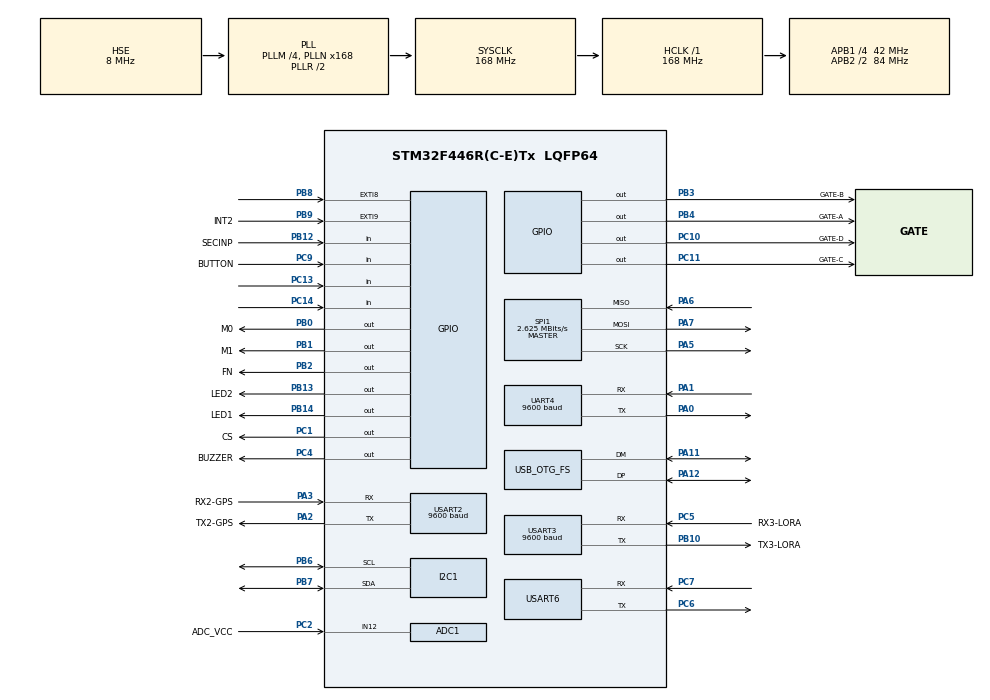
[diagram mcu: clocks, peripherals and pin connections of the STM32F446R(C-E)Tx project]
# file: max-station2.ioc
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ADC1.Channel-11\#ChannelRegularConversion=ADC_CHANNEL_12
ADC1.ContinuousConvMode=ENABLE
ADC1.NbrOfConversionFlag=1
ADC1.Rank-11\#ChannelRegularConversion=1
ADC1.SamplingTime-11\#ChannelRegularConversion=ADC_SAMPLETIME_3CYCLES
ADC1.master=1
Dma.Request0=USART3_RX
Dma.Request1=USART6_TX
Dma.USART3_RX.0.Direction=DMA_PERIPH_TO_MEMORY
Dma.USART3_RX.0.FIFOMode=DMA_FIFOMODE_DISABLE
Dma.USART3_RX.0.Instance=DMA1_Stream1
Dma.USART3_RX.0.MemDataAlignment=DMA_MDATAALIGN_BYTE
Dma.USART3_RX.0.MemInc=DMA_MINC_ENABLE
Dma.USART3_RX.0.Mode=DMA_NORMAL
Dma.USART3_RX.0.PeriphDataAlignment=DMA_PDATAALIGN_BYTE
Dma.USART3_RX.0.PeriphInc=DMA_PINC_DISABLE
Dma.USART3_RX.0.Priority=DMA_PRIORITY_LOW
Dma.USART6_TX.1.Direction=DMA_MEMORY_TO_PERIPH
Dma.USART6_TX.1.FIFOMode=DMA_FIFOMODE_DISABLE
Dma.USART6_TX.1.Instance=DMA2_Stream6
Dma.USART6_TX.1.MemDataAlignment=DMA_MDATAALIGN_BYTE
Dma.USART6_TX.1.MemInc=DMA_MINC_ENABLE
Dma.USART6_TX.1.Mode=DMA_NORMAL
Dma.USART6_TX.1.PeriphDataAlignment=DMA_PDATAALIGN_BYTE
Dma.USART6_TX.1.PeriphInc=DMA_PINC_DISABLE
Dma.USART6_TX.1.Priority=DMA_PRIORITY_LOW
I2C1.I2C_Mode=I2C_Standard
Mcu.Family=STM32F4
Mcu.Name=STM32F446R(C-E)Tx
Mcu.Package=LQFP64
NVIC.ADC_IRQn=true\:0\:0\:false\:false\:true\:true\:true\:true
NVIC.DMA1_Stream1_IRQn=true\:0\:0\:false\:false\:true\:false\:true\:true
NVIC.DMA2_Stream6_IRQn=true\:0\:0\:false\:false\:true\:false\:true\:true
NVIC.OTG_FS_IRQn=true\:0\:0\:false\:false\:true\:false\:true\:true
NVIC.PriorityGroup=NVIC_PRIORITYGROUP_4
NVIC.TIM1_TRG_COM_TIM11_IRQn=true\:0\:0\:false\:false\:true\:true\:true\:true
NVIC.USART2_IRQn=true\:1\:0\:true\:false\:true\:true\:true\:true
NVIC.USART3_IRQn=true\:0\:0\:false\:false\:true\:true\:true\:true
NVIC.USART6_IRQn=true\:0\:0\:false\:false\:true\:true\:true\:true
PA0-WKUP.Mode=Asynchronous
PA0-WKUP.Signal=UART4_TX
PA1.Mode=Asynchronous
PA1.Signal=UART4_RX
PA11.Mode=Device_Only
PA11.Signal=USB_OTG_FS_DM
PA12.Mode=Device_Only
PA12.Signal=USB_OTG_FS_DP
PA13.Mode=Serial_Wire
PA13.Signal=SYS_JTMS-SWDIO
PA14.Mode=Serial_Wire
PA14.Signal=SYS_JTCK-SWCLK
PA2.GPIO_Label=TX2-GPS
PA2.Mode=Asynchronous
PA2.Signal=USART2_TX
PA3.GPIO_Label=RX2-GPS
PA3.Mode=Asynchronous
PA3.Signal=USART2_RX
PA5.Mode=Full_Duplex_Master
PA5.Signal=SPI1_SCK
PA6.Mode=Full_Duplex_Master
PA6.Signal=SPI1_MISO
PA7.Mode=Full_Duplex_Master
PA7.Signal=SPI1_MOSI
PB0.GPIO_Label=M0
PB0.Signal=GPIO_Output
PB1.GPIO_Label=M1
PB1.Signal=GPIO_Output
PB10.GPIO_Label=TX3-LORA
PB10.Mode=Asynchronous
PB10.Signal=USART3_TX
PB12.GPIO_Label=SECINP
PB12.GPIO_PuPd=GPIO_PULLUP
PB12.Signal=GPIO_Input
PB13.GPIO_Label=LED2
PB13.Signal=GPIO_Output
PB14.GPIO_Label=LED1
PB14.Signal=GPIO_Output
PB2.GPIO_Label=FN
PB2.Signal=GPIO_Output
PB3.GPIO_Label=GATE-B
PB3.Signal=GPIO_Output
PB4.GPIO_Label=GATE-A
PB4.Signal=GPIO_Output
PB6.Mode=I2C
PB6.Signal=I2C1_SCL
PB7.Mode=I2C
PB7.Signal=I2C1_SDA
PB8.GPIO_ModeDefaultEXTI=GPIO_MODE_IT_RISING
PB8.Signal=GPXTI8
PB9.GPIO_Label=INT2
PB9.GPIO_PuPd=GPIO_NOPULL
PB9.Signal=GPXTI9
PC1.GPIO_Label=CS
PC1.Signal=GPIO_Output
PC10.GPIO_Label=GATE-D
PC10.Signal=GPIO_Output
PC11.GPIO_Label=GATE-C
PC11.Signal=GPIO_Output
PC13.Signal=GPIO_Input
PC14-OSC32_IN.Signal=GPIO_Input
PC2.GPIO_Label=ADC_VCC
PC2.Signal=ADCx_IN12
PC4.GPIO_Label=BUZZER
PC4.Signal=GPIO_Output
PC5.GPIO_Label=RX3-LORA
PC5.Mode=Asynchronous
PC5.Signal=USART3_RX
PC6.Mode=Asynchronous
PC6.Signal=USART6_TX
PC7.Mode=Asynchronous
PC7.Signal=USART6_RX
PC9.GPIO_Label=BUTTON
PC9.GPIO_PuPd=GPIO_PULLUP
PC9.Signal=GPIO_Input
PH0-OSC_IN.Mode=HSE-External-Oscillator
PH0-OSC_IN.Signal=RCC_OSC_IN
PH1-OSC_OUT.Mode=HSE-External-Oscillator
PH1-OSC_OUT.Signal=RCC_OSC_OUT
ProjectManager.HeapSize=0x200
ProjectManager.StackSize=0x400
ProjectManager.TargetToolchain=STM32CubeIDE
RCC.AHBFreq_Value=168000000
RCC.APB1CLKDivider=RCC_HCLK_DIV4
RCC.APB1Freq_Value=42000000
RCC.APB1TimFreq_Value=84000000
RCC.APB2CLKDivider=RCC_HCLK_DIV2
RCC.APB2Freq_Value=84000000
RCC.APB2TimFreq_Value=168000000
RCC.CortexFreq_Value=168000000
RCC.HCLKFreq_Value=168000000
RCC.HSE_VALUE=8000000
RCC.PLLM=4
RCC.PLLN=168
RCC.PLLQ=7
RCC.PLLSourceVirtual=RCC_PLLSOURCE_HSE
RCC.SYSCLKFreq_VALUE=168000000
RCC.SYSCLKSource=RCC_SYSCLKSOURCE_PLLRCLK
RCC.USBFreq_Value=48000000
RCC.VCOOutputFreq_Value=336000000
SH.ADCx_IN12.0=ADC1_IN12,IN12
SPI1.BaudRatePrescaler=SPI_BAUDRATEPRESCALER_32
SPI1.CalculateBaudRate=2.625 MBits/s
SPI1.Direction=SPI_DIRECTION_2LINES
SPI1.Mode=SPI_MODE_MASTER
SPI1.VirtualType=VM_MASTER
TIM11.Period=15000-1
TIM11.Prescaler=16800
UART4.BaudRate=9600
UART4.VirtualMode=Asynchronous
USART2.BaudRate=9600
USART2.VirtualMode=VM_ASYNC
USART3.BaudRate=9600
USART3.VirtualMode=VM_ASYNC
USART6.VirtualMode=VM_ASYNC
USB_DEVICE.CLASS_NAME_FS=CDC
USB_DEVICE.VirtualMode-CDC_FS=Cdc
USB_DEVICE.VirtualModeFS=Cdc_FS
USB_OTG_FS.VirtualMode=Device_Only
VP_FATFS_VS_Generic.Mode=User_defined
VP_TIM11_VS_ClockSourceINT.Mode=Enable_Timer
VP_USB_DEVICE_VS_USB_DEVICE_CDC_FS.Mode=CDC_FS
board=custom

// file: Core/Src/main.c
/* USER CODE BEGIN Header */
/**
  ******************************************************************************
  * @file           : main.c
  * @brief          : Main program body
  ******************************************************************************
  * @attention
  *
  * Copyright (c) 2024 STMicroelectronics.
  * All rights reserved.
  *
  * This software is licensed under terms that can be found in the LICENSE file
  * in the root directory of this software component.
  * If no LICENSE file comes with this software, it is provided AS-IS.
  *
  ******************************************************************************
  */
/* USER CODE END Header */
#include "main.h"
#include "fatfs.h"
#include "usb_device.h"

/* USER CODE BEGIN Includes */
#include "lwgps/lwgps.h"
#include "w25q.h"
#include <math.h>
#include "stdio.h"
#include "string.h"
/* USER CODE END Includes */

/* USER CODE BEGIN PD */
#define LORA_RX_BUFFER_SIZE 72
#define RX_BUFFER_SIZE 128
#define HYI_BUFFER_SIZE 78

#define TAKIM_ID 31

#define CMD_SET_REG 0xC0 // COMMAND FOR SETTING REGISTER
#define CMD_READ_REG 0xC1 // COMMAND FOR READING REGISTER
#define REG_ADD_H 0x0 // DEVICE ADDRESS HIGH BYTE
#define REG_ADD_L 0x1 // DEVICE ADDRESS LOW BYTE
#define REG0 0x2 // UART CONFIGURATION REGISTER
#define REG1 0x3 // RF CONFIGURATION REGISTER
#define REG2 0x4 // CHANNEL CONTROL
#define REG3 0x5 // TRANSMISSION PARAMETER CONTROL

/* USER CODE END PD */

ADC_HandleTypeDef hadc1;

I2C_HandleTypeDef hi2c1;

SPI_HandleTypeDef hspi1;

TIM_HandleTypeDef htim11;

UART_HandleTypeDef huart4;
UART_HandleTypeDef huart2;
UART_HandleTypeDef huart3;
UART_HandleTypeDef huart6;
DMA_HandleTypeDef hdma_usart3_rx;
DMA_HandleTypeDef hdma_usart6_tx;

/* USER CODE BEGIN PV */
uint8_t lora_rx_buffer[LORA_RX_BUFFER_SIZE];
uint8_t RS_rx_buffer[LORA_RX_BUFFER_SIZE];
uint8_t rx_index_lora=0;
uint8_t rx_data_lora=0;

uint8_t HYI_BUFFER[HYI_BUFFER_SIZE];

uint8_t gps_rx_buffer[RX_BUFFER_SIZE];
uint8_t rx_index=0;
uint8_t rx_data=0;

uint8_t Cmd_End[3] = {0xff,0xff,0xff};

uint8_t nextion_rx_data[5];

const double PI = 4.0*atan(1.0);
const double radius_of_earth = 6378136.0474;
double _distance=0;
double _angle=0;

///////////////sustainer
uint8_t sustgpssatsinview=0;
float sustgpsaltitude=0;
float sustgpslatitude=0;
float sustgpslongitude=0;
float sustspeed=0;
float sustaltitude=0;
float susttemperature=0;
float sustaccx=0;
float sustaccy=0;
float sustaccz=0;
float sustroll=0;
float sustpitch=0;
uint8_t sustv4_battery=0;
uint8_t sustv4_mod=0;
uint8_t suststage_communication=0;

float s_distance=0;

//egu
uint8_t EGU_ARIZA=0;
uint8_t EGU_AYRILMA_TESPIT=0;
uint8_t EGU_MOTOR_ATESLEME_TALEP_IN=0;
uint8_t EGU_STAGE_DURUM=0;
uint8_t EGU_UCUS_BASLADIMI=0;
uint8_t EGU_FITIL =0;

float EGU_BATTERY=0;
float EGU_IRTIFA=0;
float EGU_ANGLE=0;

////////////BOOOSTER

uint8_t boostgpssatsinview=0;
float boostgpsaltitude=0;
float boostgpslatitude=0;
float boostgpslongitude=0;
float boostspeed=0;
float boostaltitude=0;
float boosttemperature=0;
float boostaccx=0;
float boostaccy=0;
float boostaccz=0;
float boostroll=0;
float boostpitch=0;
uint8_t boostv4_battery=0;
uint8_t boostv4_mod=0;
uint8_t booststage_communication=0;

float bs_distance=0;

typedef struct
{	uint8_t satsinview;
	float gpsaltitude;
	float gpslatitude;
	float gpslongitude;
	float speed;
	float altitude;
	float temperature;
	float accx;
	float accy;
	float accz;
	float normal;
	float pitch;
	float maxAltitude;
	uint8_t battery;
	uint8_t mod;
	uint8_t communication;

}dataTypeDef;

dataTypeDef Payload, Booster , Sustainer;

///////////////////////////////////////////////////booster ekran
uint8_t b_altitude[8];
uint8_t b_temperature[5];
uint8_t b_speed[5];
uint8_t b_roll[5];
uint8_t b_pitch[5];
uint8_t b_latitude[9];
uint8_t b_longitude[9];
uint8_t b_bat[2];
uint8_t b_sats[2];
uint8_t b_comm[2];
uint8_t b_dist[6];

uint8_t enum_bs[9];
uint8_t enum_s[9];

char s_altitude[8];
uint8_t s_temperature[5];
uint8_t s_speed[5];
uint8_t s_roll[5];
uint8_t s_pitch[5];
uint8_t s_latitude[9];
uint8_t s_longitude[9];
uint8_t s_bat[2];
uint8_t s_sats[2];
uint8_t s_comm[2];
uint8_t s_dist[6];

///////////////////////////////////////////////////
uint8_t seconds[2];
uint8_t minutes[2];
uint8_t hours[2];
/////////////////////////////////////////////////
uint8_t p_latitude[9];
uint8_t p_longitude[9];
uint8_t p_altitude[7];
uint8_t p_gpsaltitude[7];
uint8_t p_bat[2];
////////////////////////////////////////////////
uint8_t e_altitude[7];
uint8_t e_bat[2];
uint8_t e_angle[5];
uint8_t e_flight[2];
uint8_t e_stage[2];
uint8_t e_fitil[5];
uint8_t e_engine_request[3];
int8_t receive_data=0;

uint8_t test_index=0;

float adc;
float adc_pil_val;
uint8_t adc_flag;

uint8_t st_bat[2];

uint32_t tim1=0;
uint32_t takim_sayac;

uint8_t BUTTON_STATE=0;

uint8_t writeData[50] = {0,1,1,1};
uint8_t readData[50] = {0};

uint32_t crc;
uint8_t chs;
lwgps_t gps;

typedef union{
  float fVal;
  unsigned char array[4];
}float2unit8;

int counthalf=0,countfull=0;

/* USER CODE END PV */

void SystemClock_Config(void);
static void MX_GPIO_Init(void);
static void MX_DMA_Init(void);
static void MX_ADC1_Init(void);
static void MX_I2C1_Init(void);
static void MX_SPI1_Init(void);
static void MX_UART4_Init(void);
static void MX_USART2_UART_Init(void);
static void MX_USART3_UART_Init(void);
static void MX_TIM11_Init(void);
static void MX_USART6_UART_Init(void);
/* USER CODE BEGIN PFP */
void E220_CONFIG(uint8_t ADDH, uint8_t ADDL, uint8_t CHN, uint8_t MODE);
double distance_in_m(double lat1, double long1, double lat2, double long2);
double toRadians(double degree);
double calculateAngle(double lat1, double lon1, double lat2, double lon2);
void NEXTION_SendString (char *ID, char *string);
void NEXTION_SendNum (char *obj, int32_t num);
void NEXTION_SendFloat (char *obj, float num, int dp);
void HYI_BUFFER_Fill(void);
void Payload_union_converter(void);
void Enum_State_bs(void);
void Enum_State_s(void);
void Nextion_SendCommand(char* command);
void Nextion_SendFloatToTextbox(char* textbox_id, float value);
/* USER CODE END PFP */

/* USER CODE BEGIN 0 */
//void HAL_UART_RxHalfCpltCallback(UART_HandleTypeDef *huart)
//{
//	counthalf++;
//}

int8_t E220_write_register(uint8_t reg,uint8_t parameter)
{

	HAL_GPIO_WritePin(GPIOB, GPIO_PIN_0, SET);
	HAL_GPIO_WritePin(GPIOB, GPIO_PIN_1, SET);

	HAL_Delay(10);

	uint8_t send_data[4]={CMD_SET_REG,reg,1,parameter};
	uint8_t receive_data[4]={0};

	HAL_UART_Transmit(&huart3,send_data ,4, 100);
	HAL_UART_Receive(&huart3, receive_data, 4, 100);

	if(receive_data[0]==CMD_READ_REG && receive_data[1]==reg && receive_data[2]==1 && receive_data[3] == parameter)
		return receive_data[3];
	else
		return -1;

}
int8_t E220_read_register(uint8_t reg)
{

	uint8_t send_data[3]={CMD_READ_REG,reg,1};
	uint8_t receive_data[4]={0};
	HAL_UART_Transmit(&huart3,send_data ,3, 100);

	HAL_UART_Receive(&huart3, receive_data, 4, 100);

	if(receive_data[0]==CMD_READ_REG && receive_data[1]==reg && receive_data[2]==1)
		return receive_data[3];
	else
		return -1;
}
int8_t E220_read_register_all(uint8_t *data)
{

	for(int i=0; i<8;i++){
		data[i]=E220_read_register(i);
		HAL_Delay(2);
		if((int8_t)data[i]==(int8_t)-1)
			return -1;
	}
	return 1;

}

void HAL_UART_RxCpltCallback(UART_HandleTypeDef *huart)
{

	if(huart == &huart3){
	if(rx_data_lora != '\n'&& rx_index_lora < LORA_RX_BUFFER_SIZE){
	lora_rx_buffer[rx_index_lora++]=rx_data_lora;

	}
	else{
		rx_data_lora=0;
		rx_index_lora=0;

		}
	HAL_UART_Receive_IT(&huart3, &rx_data_lora, 1);
	}

//	if(huart == &huart3){
//		countfull++;
//		HAL_UART_Receive_DMA(&huart3, lora_rx_buffer, 75);
//	}

	if(huart == &huart2) {
			if( rx_data != '\n'&& rx_index < RX_BUFFER_SIZE) {
				gps_rx_buffer[rx_index++] = rx_data;
			} else {
				lwgps_process(&gps, gps_rx_buffer, rx_index+1);
				rx_index = 0;
				rx_data = 0;
			}
			HAL_UART_Receive_IT(&huart2, &rx_data, 1);
		}
}

void HAL_TIM_PeriodElapsedCallback(TIM_HandleTypeDef *htim)
{

	if(htim==&htim11){ // 1 sn
   adc_flag=1;

	}

}

void HAL_ADC_ConvCpltCallback(ADC_HandleTypeDef* hadc)
{
	if(hadc->Instance == ADC1 )
	{
		adc= HAL_ADC_GetValue(&hadc1);

		//adc_flag = 1;
	}
}

/* USER CODE END 0 */

int main(void)
{

  /* MCU Configuration--------------------------------------------------------*/

  /* Reset of all peripherals, Initializes the Flash interface and the Systick. */
  HAL_Init();

  /* Configure the system clock */
  SystemClock_Config();

  /* Initialize all configured peripherals */
  MX_GPIO_Init();
  MX_DMA_Init();
  MX_ADC1_Init();
  MX_I2C1_Init();
  MX_SPI1_Init();
  MX_UART4_Init();
  MX_USART2_UART_Init();
  MX_USART3_UART_Init();
  MX_FATFS_Init();
  MX_TIM11_Init();
  MX_USB_DEVICE_Init();
  MX_USART6_UART_Init();
  /* USER CODE BEGIN 2 */
  HAL_Delay(100);
  receive_data =E220_write_register(0x2, 0x62);
  HAL_Delay(100);
  receive_data =E220_write_register(0x3, 0x40);
  HAL_Delay(100);
  receive_data =E220_write_register(0x4, 0x10); // ch
  HAL_Delay(100);
  receive_data =E220_write_register(0x5, 0x40);
  HAL_Delay(100);
  receive_data =E220_write_register(0x6, 0x00);
  HAL_Delay(100);
  receive_data =E220_write_register(0x7, 0x00);
  HAL_Delay(100);
  receive_data =E220_write_register(0, 0x09); // h 0x09
  HAL_Delay(100);

  receive_data =E220_write_register(0x1, 0x02); // low 0x02
  HAL_Delay(200);

  receive_data = E220_read_register(0);
  HAL_Delay(100);
  receive_data = E220_read_register(1);
  HAL_Delay(100);
  HAL_GPIO_WritePin(GPIOB, GPIO_PIN_0, SET);//m0
  HAL_Delay(100);
  HAL_GPIO_WritePin(GPIOB, GPIO_PIN_1, RESET); //m1
  HAL_Delay(100);

 // E220_CONFIG(0x8,0x2F,0x20,1); //0x7 0x2b 0x12 1
  lwgps_init(&gps);

  HAL_ADC_Start_IT(&hadc1);
  HAL_TIM_Base_Start_IT(&htim11);

  HAL_GPIO_TogglePin(GPIOC, GPIO_PIN_4);
  HAL_Delay(1000);
  HAL_GPIO_TogglePin(GPIOC, GPIO_PIN_4);

  tim1=HAL_GetTick();

  /* USER CODE END 2 */

//  receive_data =E220_write_register(0, 0x09); // h 0x09

  //HAL_UART_Receive_DMA(&huart3, lora_rx_buffer, 75);
  HAL_UART_Receive_IT(&huart3,&rx_data_lora, 1);
  HAL_UART_Receive_IT(&huart2,&rx_data, 1);
 //

  /* Infinite loop */
  /* USER CODE BEGIN WHILE */
  while (1)
  {
	//  HAL_UART_Receive(&huart4, nextion_rx_data, 5 , 1000);

	   if(lora_rx_buffer[0]==1 && lora_rx_buffer[47]==0x32){

		  Booster.satsinview=lora_rx_buffer[1];

			 float2unit8 f2u8_bgpsalt;
				 for(uint8_t i=0;i<4;i++)
				 {
					 f2u8_bgpsalt.array[i]=lora_rx_buffer[i+2];
					 HYI_BUFFER[34+i]=lora_rx_buffer[i+5]; // 34 35 36 37
				 }
				 Booster.gpsaltitude=f2u8_bgpsalt.fVal;
			 float2unit8 f2u8_blatitude;

				 for(uint8_t i=0;i<4;i++)
				 {
					 f2u8_blatitude.array[i]=lora_rx_buffer[i+6];
					 HYI_BUFFER[38+i]=lora_rx_buffer[i+9]; // 38 39 40 41
				 }
				 Booster.gpslatitude=f2u8_blatitude.fVal;

			 float2unit8 f2u8_blongitude;
				 for(uint8_t i=0;i<4;i++)
				 {
					 f2u8_blongitude.array[i]=lora_rx_buffer[i+10];
					 HYI_BUFFER[42+i]=lora_rx_buffer[i+13]; // 42 43 44 45
				 }
				 Booster.gpslongitude=f2u8_blongitude.fVal;

			 float2unit8 f2u8_baltitude;
				 for(uint8_t i=0;i<4;i++)
				 {
					f2u8_baltitude.array[i]=lora_rx_buffer[i+14];
				 }
				 Booster.altitude=f2u8_baltitude.fVal;

			 float2unit8 f2u8_bspeed;

				 for(uint8_t i=0;i<4;i++)
				 {
					 f2u8_bspeed.array[i]=lora_rx_buffer[i+18];
				 }
				 Booster.speed=f2u8_bspeed.fVal;

			 float2unit8 f2u8_btemp;
				 for(uint8_t i=0;i<4;i++)
				 {
					 f2u8_btemp.array[i]=lora_rx_buffer[i+22];
				 }
				 Booster.temperature=f2u8_btemp.fVal;

			 float2unit8 f2u8_baccx;
				 for(uint8_t i=0;i<4;i++)
				 {
					 f2u8_baccx.array[i]=lora_rx_buffer[i+26];
				 }
				 Booster.accx=f2u8_baccx.fVal;

			float2unit8 f2u8_baccy;
				 for(uint8_t i=0;i<4;i++)
				 {
					 f2u8_baccy.array[i]=lora_rx_buffer[i+30];
				 }
				 Booster.accy=f2u8_baccy.fVal;

			float2unit8 f2u8_baccz;
			      for(uint8_t i=0;i<4;i++)
				 {
			    	  f2u8_baccz.array[i]=lora_rx_buffer[i+34];
				 }
			      Booster.accz=f2u8_baccz.fVal;

			float2unit8 f2u8_broll;
				  for(uint8_t i=0;i<4;i++)
				 {
					  f2u8_broll.array[i]=lora_rx_buffer[i+38];
				 }
				  Booster.normal=f2u8_broll.fVal;

			float2unit8 f2u8_bpitch;
				  for(uint8_t i=0;i<4;i++)
				 {
					  f2u8_bpitch.array[i]=lora_rx_buffer[i+42];
				 }
				  Booster.pitch=f2u8_bpitch.fVal;

				  Booster.battery=lora_rx_buffer[46];
				  Booster.mod=lora_rx_buffer[70];
				  Booster.communication=lora_rx_buffer[48];

				  f2u8_baltitude.array[0] = lora_rx_buffer[66];
				  f2u8_baltitude.array[1] = lora_rx_buffer[67];
				  f2u8_baltitude.array[2] = lora_rx_buffer[68];
				  f2u8_baltitude.array[3] = lora_rx_buffer[69];
				  Booster.maxAltitude = f2u8_baltitude.fVal;

				  HAL_UART_Transmit(&huart6, lora_rx_buffer, 75,1000);
	  	  }

	     else if(lora_rx_buffer[0]==3 && lora_rx_buffer[47]==0x33)
		  {

		  Payload.satsinview=lora_rx_buffer[4];

		  Payload_union_converter();

		  Payload.battery=lora_rx_buffer[46];
		  Payload.mod=lora_rx_buffer[70];
		  Payload.communication=lora_rx_buffer[48];
	        // payload ekran

		  HAL_UART_Transmit(&huart6, lora_rx_buffer, 75,1000);

		  }

if(adc_flag ==1)
	  {
		  if(adc > 2476) adc = 2234;
		  if(adc < 1755) adc = 1755;
		  // 6V = 1755 adc val 1,41V
		  // 8.4V = 2476 adc val 1,99V 0,58V
		  adc_pil_val=(float)( ( ( (adc/4095)*3.3)-1.41) / (1.99-1.41) ) *100 ;
		 // adc_pil_val = (adc-1755)/(2746-1755)*100;
		  adc_flag=0;

	  }

    /* USER CODE END WHILE */

  }
}

void SystemClock_Config(void)
{
  RCC_OscInitTypeDef RCC_OscInitStruct = {0};
  RCC_ClkInitTypeDef RCC_ClkInitStruct = {0};

  /** Configure the main internal regulator output voltage
  */
  __HAL_RCC_PWR_CLK_ENABLE();
  __HAL_PWR_VOLTAGESCALING_CONFIG(PWR_REGULATOR_VOLTAGE_SCALE1);

  /** Initializes the RCC Oscillators according to the specified parameters
  * in the RCC_OscInitTypeDef structure.
  */
  RCC_OscInitStruct.OscillatorType = RCC_OSCILLATORTYPE_HSE;
  RCC_OscInitStruct.HSEState = RCC_HSE_ON;
  RCC_OscInitStruct.PLL.PLLState = RCC_PLL_ON;
  RCC_OscInitStruct.PLL.PLLSource = RCC_PLLSOURCE_HSE;
  RCC_OscInitStruct.PLL.PLLM = 4;
  RCC_OscInitStruct.PLL.PLLN = 168;
  RCC_OscInitStruct.PLL.PLLP = RCC_PLLP_DIV2;
  RCC_OscInitStruct.PLL.PLLQ = 7;
  RCC_OscInitStruct.PLL.PLLR = 2;
  if (HAL_RCC_OscConfig(&RCC_OscInitStruct) != HAL_OK)
  {
    Error_Handler();
  }

  /** Initializes the CPU, AHB and APB buses clocks
  */
  RCC_ClkInitStruct.ClockType = RCC_CLOCKTYPE_HCLK|RCC_CLOCKTYPE_SYSCLK
                              |RCC_CLOCKTYPE_PCLK1|RCC_CLOCKTYPE_PCLK2;
  RCC_ClkInitStruct.SYSCLKSource = RCC_SYSCLKSOURCE_PLLRCLK;
  RCC_ClkInitStruct.AHBCLKDivider = RCC_SYSCLK_DIV1;
  RCC_ClkInitStruct.APB1CLKDivider = RCC_HCLK_DIV4;
  RCC_ClkInitStruct.APB2CLKDivider = RCC_HCLK_DIV2;

  if (HAL_RCC_ClockConfig(&RCC_ClkInitStruct, FLASH_LATENCY_5) != HAL_OK)
  {
    Error_Handler();
  }
}

static void MX_ADC1_Init(void)
{

  ADC_ChannelConfTypeDef sConfig = {0};

  /** Configure the global features of the ADC (Clock, Resolution, Data Alignment and number of conversion)
  */
  hadc1.Instance = ADC1;
  hadc1.Init.ClockPrescaler = ADC_CLOCK_SYNC_PCLK_DIV4;
  hadc1.Init.Resolution = ADC_RESOLUTION_12B;
  hadc1.Init.ScanConvMode = DISABLE;
  hadc1.Init.ContinuousConvMode = ENABLE;
  hadc1.Init.DiscontinuousConvMode = DISABLE;
  hadc1.Init.ExternalTrigConvEdge = ADC_EXTERNALTRIGCONVEDGE_NONE;
  hadc1.Init.ExternalTrigConv = ADC_SOFTWARE_START;
  hadc1.Init.DataAlign = ADC_DATAALIGN_RIGHT;
  hadc1.Init.NbrOfConversion = 1;
  hadc1.Init.DMAContinuousRequests = DISABLE;
  hadc1.Init.EOCSelection = ADC_EOC_SINGLE_CONV;
  if (HAL_ADC_Init(&hadc1) != HAL_OK)
  {
    Error_Handler();
  }

  /** Configure for the selected ADC regular channel its corresponding rank in the sequencer and its sample time.
  */
  sConfig.Channel = ADC_CHANNEL_12;
  sConfig.Rank = 1;
  sConfig.SamplingTime = ADC_SAMPLETIME_3CYCLES;
  if (HAL_ADC_ConfigChannel(&hadc1, &sConfig) != HAL_OK)
  {
    Error_Handler();
  }

}

static void MX_I2C1_Init(void)
{

  hi2c1.Instance = I2C1;
  hi2c1.Init.ClockSpeed = 100000;
  hi2c1.Init.DutyCycle = I2C_DUTYCYCLE_2;
  hi2c1.Init.OwnAddress1 = 0;
  hi2c1.Init.AddressingMode = I2C_ADDRESSINGMODE_7BIT;
  hi2c1.Init.DualAddressMode = I2C_DUALADDRESS_DISABLE;
  hi2c1.Init.OwnAddress2 = 0;
  hi2c1.Init.GeneralCallMode = I2C_GENERALCALL_DISABLE;
  hi2c1.Init.NoStretchMode = I2C_NOSTRETCH_DISABLE;
  if (HAL_I2C_Init(&hi2c1) != HAL_OK)
  {
    Error_Handler();
  }

}

static void MX_SPI1_Init(void)
{

  /* SPI1 parameter configuration*/
  hspi1.Instance = SPI1;
  hspi1.Init.Mode = SPI_MODE_MASTER;
  hspi1.Init.Direction = SPI_DIRECTION_2LINES;
  hspi1.Init.DataSize = SPI_DATASIZE_8BIT;
  hspi1.Init.CLKPolarity = SPI_POLARITY_LOW;
  hspi1.Init.CLKPhase = SPI_PHASE_1EDGE;
  hspi1.Init.NSS = SPI_NSS_SOFT;
  hspi1.Init.BaudRatePrescaler = SPI_BAUDRATEPRESCALER_32;
  hspi1.Init.FirstBit = SPI_FIRSTBIT_MSB;
  hspi1.Init.TIMode = SPI_TIMODE_DISABLE;
  hspi1.Init.CRCCalculation = SPI_CRCCALCULATION_DISABLE;
  hspi1.Init.CRCPolynomial = 10;
  if (HAL_SPI_Init(&hspi1) != HAL_OK)
  {
    Error_Handler();
  }

}

static void MX_TIM11_Init(void)
{

  htim11.Instance = TIM11;
  htim11.Init.Prescaler = 16800;
  htim11.Init.CounterMode = TIM_COUNTERMODE_UP;
  htim11.Init.Period = 15000-1;
  htim11.Init.ClockDivision = TIM_CLOCKDIVISION_DIV1;
  htim11.Init.AutoReloadPreload = TIM_AUTORELOAD_PRELOAD_DISABLE;
  if (HAL_TIM_Base_Init(&htim11) != HAL_OK)
  {
    Error_Handler();
  }

}

static void MX_UART4_Init(void)
{

  huart4.Instance = UART4;
  huart4.Init.BaudRate = 9600;
  huart4.Init.WordLength = UART_WORDLENGTH_8B;
  huart4.Init.StopBits = UART_STOPBITS_1;
  huart4.Init.Parity = UART_PARITY_NONE;
  huart4.Init.Mode = UART_MODE_TX_RX;
  huart4.Init.HwFlowCtl = UART_HWCONTROL_NONE;
  huart4.Init.OverSampling = UART_OVERSAMPLING_16;
  if (HAL_UART_Init(&huart4) != HAL_OK)
  {
    Error_Handler();
  }

}

static void MX_USART2_UART_Init(void)
{

  huart2.Instance = USART2;
  huart2.Init.BaudRate = 9600;
  huart2.Init.WordLength = UART_WORDLENGTH_8B;
  huart2.Init.StopBits = UART_STOPBITS_1;
  huart2.Init.Parity = UART_PARITY_NONE;
  huart2.Init.Mode = UART_MODE_TX_RX;
  huart2.Init.HwFlowCtl = UART_HWCONTROL_NONE;
  huart2.Init.OverSampling = UART_OVERSAMPLING_16;
  if (HAL_UART_Init(&huart2) != HAL_OK)
  {
    Error_Handler();
  }

}

static void MX_USART3_UART_Init(void)
{

  huart3.Instance = USART3;
  huart3.Init.BaudRate = 9600;
  huart3.Init.WordLength = UART_WORDLENGTH_8B;
  huart3.Init.StopBits = UART_STOPBITS_1;
  huart3.Init.Parity = UART_PARITY_NONE;
  huart3.Init.Mode = UART_MODE_TX_RX;
  huart3.Init.HwFlowCtl = UART_HWCONTROL_NONE;
  huart3.Init.OverSampling = UART_OVERSAMPLING_16;
  if (HAL_UART_Init(&huart3) != HAL_OK)
  {
    Error_Handler();
  }

}

static void MX_USART6_UART_Init(void)
{

  huart6.Instance = USART6;
  huart6.Init.BaudRate = 115200;
  huart6.Init.WordLength = UART_WORDLENGTH_8B;
  huart6.Init.StopBits = UART_STOPBITS_1;
  huart6.Init.Parity = UART_PARITY_NONE;
  huart6.Init.Mode = UART_MODE_TX_RX;
  huart6.Init.HwFlowCtl = UART_HWCONTROL_NONE;
  huart6.Init.OverSampling = UART_OVERSAMPLING_16;
  if (HAL_UART_Init(&huart6) != HAL_OK)
  {
    Error_Handler();
  }

}

static void MX_DMA_Init(void)
{

  /* DMA controller clock enable */
  __HAL_RCC_DMA1_CLK_ENABLE();
  __HAL_RCC_DMA2_CLK_ENABLE();

  /* DMA interrupt init */
  /* DMA1_Stream1_IRQn interrupt configuration */
  HAL_NVIC_SetPriority(DMA1_Stream1_IRQn, 0, 0);
  HAL_NVIC_EnableIRQ(DMA1_Stream1_IRQn);
  /* DMA2_Stream6_IRQn interrupt configuration */
  HAL_NVIC_SetPriority(DMA2_Stream6_IRQn, 0, 0);
  HAL_NVIC_EnableIRQ(DMA2_Stream6_IRQn);

}

static void MX_GPIO_Init(void)
{
  GPIO_InitTypeDef GPIO_InitStruct = {0};

  /* GPIO Ports Clock Enable */
  __HAL_RCC_GPIOC_CLK_ENABLE();
  __HAL_RCC_GPIOH_CLK_ENABLE();
  __HAL_RCC_GPIOA_CLK_ENABLE();
  __HAL_RCC_GPIOB_CLK_ENABLE();

  /*Configure GPIO pin Output Level */
  HAL_GPIO_WritePin(GPIOC, CS_Pin|BUZZER_Pin|GATE_D_Pin|GATE_C_Pin, GPIO_PIN_RESET);

  /*Configure GPIO pin Output Level */
  HAL_GPIO_WritePin(GPIOB, M0_Pin|M1_Pin|FN_Pin|LED2_Pin
                          |LED1_Pin|GATE_B_Pin|GATE_A_Pin, GPIO_PIN_RESET);

  /*Configure GPIO pins : PC13 PC14 */
  GPIO_InitStruct.Pin = GPIO_PIN_13|GPIO_PIN_14;
  GPIO_InitStruct.Mode = GPIO_MODE_INPUT;
  GPIO_InitStruct.Pull = GPIO_NOPULL;
  HAL_GPIO_Init(GPIOC, &GPIO_InitStruct);

  /*Configure GPIO pins : CS_Pin BUZZER_Pin GATE_D_Pin GATE_C_Pin */
  GPIO_InitStruct.Pin = CS_Pin|BUZZER_Pin|GATE_D_Pin|GATE_C_Pin;
  GPIO_InitStruct.Mode = GPIO_MODE_OUTPUT_PP;
  GPIO_InitStruct.Pull = GPIO_NOPULL;
  GPIO_InitStruct.Speed = GPIO_SPEED_FREQ_LOW;
  HAL_GPIO_Init(GPIOC, &GPIO_InitStruct);

  /*Configure GPIO pins : M0_Pin M1_Pin FN_Pin LED2_Pin
                           LED1_Pin GATE_B_Pin GATE_A_Pin */
  GPIO_InitStruct.Pin = M0_Pin|M1_Pin|FN_Pin|LED2_Pin
                          |LED1_Pin|GATE_B_Pin|GATE_A_Pin;
  GPIO_InitStruct.Mode = GPIO_MODE_OUTPUT_PP;
  GPIO_InitStruct.Pull = GPIO_NOPULL;
  GPIO_InitStruct.Speed = GPIO_SPEED_FREQ_LOW;
  HAL_GPIO_Init(GPIOB, &GPIO_InitStruct);

  /*Configure GPIO pin : SECINP_Pin */
  GPIO_InitStruct.Pin = SECINP_Pin;
  GPIO_InitStruct.Mode = GPIO_MODE_INPUT;
  GPIO_InitStruct.Pull = GPIO_PULLUP;
  HAL_GPIO_Init(SECINP_GPIO_Port, &GPIO_InitStruct);

  /*Configure GPIO pin : BUTTON_Pin */
  GPIO_InitStruct.Pin = BUTTON_Pin;
  GPIO_InitStruct.Mode = GPIO_MODE_INPUT;
  GPIO_InitStruct.Pull = GPIO_PULLUP;
  HAL_GPIO_Init(BUTTON_GPIO_Port, &GPIO_InitStruct);

  /*Configure GPIO pins : PB8 INT2_Pin */
  GPIO_InitStruct.Pin = GPIO_PIN_8|INT2_Pin;
  GPIO_InitStruct.Mode = GPIO_MODE_IT_RISING;
  GPIO_InitStruct.Pull = GPIO_NOPULL;
  HAL_GPIO_Init(GPIOB, &GPIO_InitStruct);

}

/* USER CODE BEGIN 4 */
void E220_CONFIG(uint8_t ADDH, uint8_t ADDL, uint8_t CHN, uint8_t MODE)
{
    HAL_GPIO_WritePin(GPIOB, GPIO_PIN_0, SET);
    HAL_GPIO_WritePin(GPIOB, GPIO_PIN_1, SET);
    HAL_Delay(50);

    char cfg_buff[8] = {0}; // E220 için 8 elemanlı bir dizi kullanıyoruz
    enum {Transparent, Fixed} mode;
    mode = MODE;

    cfg_buff[0] = ADDH;
    cfg_buff[1] = ADDL;
    cfg_buff[2] = 0x62;
    cfg_buff[3] = 0x00;
    cfg_buff[4] = CHN;

	cfg_buff[5] = 0x40;

     cfg_buff[6] = 0x00;
     cfg_buff[7] = 0x00;

    HAL_UART_Transmit(&huart3, (uint8_t*) cfg_buff, 8, 1000);

    HAL_Delay(25);
    HAL_GPIO_WritePin(GPIOB, GPIO_PIN_0, RESET);
    HAL_GPIO_WritePin(GPIOB, GPIO_PIN_1, RESET);
    HAL_Delay(25);
}
double distance_in_m(double lat1, double long1, double lat2, double long2) {

    double dlat1=lat1*(PI/180);

    double dlong1=long1*(PI/180);
    double dlat2=lat2*(PI/180);
    double dlong2=long2*(PI/180);

    double dLong=dlong1-dlong2;
    double dLat=dlat1-dlat2;

    double aHarv= pow(sin(dLat/2.0),2.0)+cos(dlat1)*cos(dlat2)*pow(sin(dLong/2),2);
    double cHarv=2*atan2(sqrt(aHarv),sqrt(1.0-aHarv));

    double distance=radius_of_earth*cHarv;
    return (distance);
    }
double toRadians(double degree) {
    return (degree * PI / 180.0);
}

double calculateAngle(double lat1, double lon1, double lat2, double lon2){
    double lat1_rad = toRadians(lat1);
    double lat2_rad = toRadians(lat2);
    double delta_lon = toRadians(lon2 - lon1);
    double y = sin(delta_lon) * cos(lat2_rad);
    double x = cos(lat1_rad) * sin(lat2_rad) - sin(lat1_rad) * cos(lat2_rad) * cos(delta_lon);
    double angle_rad = atan2(y, x);
    double angle_deg = angle_rad * 180.0 / PI;
    return angle_deg;
}

void NEXTION_SendString (char *ID, char *string)
{
	char buf[50];
	int len = sprintf (buf, "%s.txt=\"%s\"", ID, string);
	HAL_UART_Transmit(&huart4, (uint8_t *)buf, len, 1000);
	HAL_UART_Transmit(&huart4, Cmd_End, 3, 100);
}

void NEXTION_SendNum (char *obj, int32_t num)
{
	uint8_t *buffer = malloc(30*sizeof (char));
	int len = sprintf ((char *)buffer, "%s.val=%ld", obj, num);
	HAL_UART_Transmit(&huart4, buffer, len, 1000);
	HAL_UART_Transmit(&huart4, Cmd_End, 3, 100);
	free(buffer);
}

void NEXTION_SendFloat (char *obj, float num, int dp)
{
	// convert to the integer
	int32_t number = num*(pow(10,dp));

	uint8_t *buffer = malloc(30*sizeof (char));
	int len = sprintf ((char *)buffer, "%s.vvs1=%d", obj, dp);
	HAL_UART_Transmit(&huart4, buffer, len, 1000);
	HAL_UART_Transmit(&huart4, Cmd_End, 3, 100);

	len = sprintf ((char *)buffer, "%s.val=%ld", obj, number);
	HAL_UART_Transmit(&huart4, buffer, len, 1000);
	HAL_UART_Transmit(&huart4, Cmd_End, 3, 100);
	free(buffer);
}

void Nextion_SendCommand(char* command) {
    HAL_UART_Transmit(&huart4, (uint8_t*)command, strlen(command), 100);
    uint8_t end_cmd[] = {0xFF, 0xFF, 0xFF}; // Nextion end of command
    HAL_UART_Transmit(&huart4, end_cmd, 3, 100);
}

// Function to send a float value to a Nextion text box
void Nextion_SendFloatToTextbox(char* textbox_id, float value) {
    char command[50];
    char value_str[20];

    // Convert the float to a string
    snprintf(value_str, sizeof(value_str), "%.2f", value); // Adjust the format as needed

    // Format the command
    snprintf(command, sizeof(command), "%s.txt=\"%s\"", textbox_id, value_str);

    // Send the command to the Nextion display
    Nextion_SendCommand(command);
}

void HYI_BUFFER_Fill()
{
	HYI_BUFFER[0] =0xFF;
	HYI_BUFFER[1] =0xFF;
	HYI_BUFFER[2] =0x54;
	HYI_BUFFER[3] =0X52;
	HYI_BUFFER[4] =TAKIM_ID;
//	HYI_BUFFER[6] =takim_sayac;
//	HYI_BUFFER[7] =takim_sayac;
//	HYI_BUFFER[8] =takim_sayac;
//	HYI_BUFFER[9] =takim_sayac;
//	HYI_BUFFER[10] =takim_sayac;
//	HYI_BUFFER[11] =takim_sayac;
//	HYI_BUFFER[12] =takim_sayac;
//	HYI_BUFFER[13] =takim_sayac;
//	HYI_BUFFER[14] =takim_sayac;
//	HYI_BUFFER[15] =takim_sayac;
//	HYI_BUFFER[16] =takim_sayac;
//	HYI_BUFFER[17] =takim_sayac;
//	HYI_BUFFER[18] =takim_sayac;
//	HYI_BUFFER[19] =takim_sayac;
//	HYI_BUFFER[20] =takim_sayac;
//	HYI_BUFFER[21] =takim_sayac;
//	HYI_BUFFER[22] =takim_sayac;
//	HYI_BUFFER[23] =takim_sayac;
//	HYI_BUFFER[24] =takim_sayac;
//	HYI_BUFFER[25] =takim_sayac;
//	HYI_BUFFER[26] =takim_sayac;
//	HYI_BUFFER[27] =takim_sayac;
//	HYI_BUFFER[28] =takim_sayac;
//	HYI_BUFFER[29] =takim_sayac;
//	HYI_BUFFER[30] =takim_sayac;
//	HYI_BUFFER[31] =takim_sayac;
//	HYI_BUFFER[32] =takim_sayac;
//	HYI_BUFFER[33] =takim_sayac;
//	HYI_BUFFER[34] =takim_sayac;
//	HYI_BUFFER[35] =takim_sayac;
//	HYI_BUFFER[36] =takim_sayac;
//	HYI_BUFFER[37] =takim_sayac;
//	HYI_BUFFER[38] =takim_sayac;
//	HYI_BUFFER[39] =takim_sayac;
//	HYI_BUFFER[40] =takim_sayac;
//	HYI_BUFFER[41] =takim_sayac;
//	HYI_BUFFER[42] =takim_sayac;
//	HYI_BUFFER[43] =takim_sayac;
//	HYI_BUFFER[44] =takim_sayac;
//	HYI_BUFFER[45] =takim_sayac;
//	HYI_BUFFER[46] =takim_sayac;
//	HYI_BUFFER[47] =takim_sayac;
//	HYI_BUFFER[48] =takim_sayac;
//	HYI_BUFFER[49] =takim_sayac;
//	HYI_BUFFER[50] =takim_sayac;
//	HYI_BUFFER[51] =takim_sayac;
//	HYI_BUFFER[52] =takim_sayac;
//	HYI_BUFFER[53] =takim_sayac;
//	HYI_BUFFER[54] =takim_sayac;
//	HYI_BUFFER[55] =takim_sayac;
//	HYI_BUFFER[56] =takim_sayac;
//	HYI_BUFFER[57] =takim_sayac;
//	HYI_BUFFER[58] =takim_sayac;
//	HYI_BUFFER[59] =takim_sayac;
//	HYI_BUFFER[60] =takim_sayac;
//	HYI_BUFFER[61] =takim_sayac;
//	HYI_BUFFER[62] =takim_sayac;
//	HYI_BUFFER[63] =takim_sayac;
//	HYI_BUFFER[64] =takim_sayac;
//	HYI_BUFFER[65] =takim_sayac;
//	HYI_BUFFER[66] =takim_sayac;
//	HYI_BUFFER[67] =takim_sayac;
//	HYI_BUFFER[68] =takim_sayac;
//	HYI_BUFFER[69] =takim_sayac;
//	HYI_BUFFER[70] =takim_sayac;
//	HYI_BUFFER[71] =takim_sayac;
//	HYI_BUFFER[72] =takim_sayac;
//	HYI_BUFFER[73] =takim_sayac;

	HYI_BUFFER[74]= 1;//EGU_AYRILMA_TESPIT;
	//HYI_BUFFER[75]= crc; // CRC
	HYI_BUFFER[76]= 0x0D;
	HYI_BUFFER[77]= 0x0A;

}
void Payload_union_converter(void)
{
	 float2unit8 f2u8;
			 for(uint8_t i=0;i<4;i++)
			 {
				 f2u8.array[i]=lora_rx_buffer[i+2];
				 HYI_BUFFER[22+i]=lora_rx_buffer[i+5]; // 34 35 36 37
			 }
			 Payload.gpsaltitude=f2u8.fVal;

			 for(uint8_t i=0;i<4;i++)
			 {
				 f2u8.array[i]=lora_rx_buffer[i+6];
				 HYI_BUFFER[26+i]=lora_rx_buffer[i+9]; // 38 39 40 41
			 }
			 Payload.gpslatitude=f2u8.fVal;

			 for(uint8_t i=0;i<4;i++)
			 {
				 f2u8.array[i]=lora_rx_buffer[i+10];
				 HYI_BUFFER[30+i]=lora_rx_buffer[i+13]; // 42 43 44 45
			 }
			 Payload.gpslongitude=f2u8.fVal;

			 for(uint8_t i=0;i<4;i++)
			 {
				 f2u8.array[i]=lora_rx_buffer[i+14];
			 }
			 Payload.altitude=f2u8.fVal;

			 for(uint8_t i=0;i<4;i++)
			 {
				 f2u8.array[i]=lora_rx_buffer[i+18];
			 }
			 Payload.speed=f2u8.fVal;

			 for(uint8_t i=0;i<4;i++)
			 {
				 f2u8.array[i]=lora_rx_buffer[i+22];
			 }
			 Payload.temperature=f2u8.fVal;

			 for(uint8_t i=0;i<4;i++)
			 {
				 f2u8.array[i]=lora_rx_buffer[i+26];
			 }
			 Payload.accx=f2u8.fVal;

			 for(uint8_t i=0;i<4;i++)
			 {
				 f2u8.array[i]=lora_rx_buffer[i+30];
			 }
			 Payload.accy=f2u8.fVal;

		      for(uint8_t i=0;i<4;i++)
			 {
		    	  f2u8.array[i]=lora_rx_buffer[i+34];
			 }
		      Payload.accz=f2u8.fVal;

			  for(uint8_t i=0;i<4;i++)
			 {
				  f2u8.array[i]=lora_rx_buffer[i+38];
			 }
			  Payload.normal=f2u8.fVal;

			  for(uint8_t i=0;i<4;i++)
			 {
				  f2u8.array[i]=lora_rx_buffer[i+42];
			 }
			  Payload.pitch=f2u8.fVal;
}
void Enum_State_bs(void){

    switch(Booster.mod){

    case 0:
    	enum_bs[0]='O';
    	enum_bs[1]='F';
    	enum_bs[2]='F';
    	enum_bs[3]='\0';
    	enum_bs[4]='\0';
    	enum_bs[5]='\0';
    	enum_bs[6]='\0';
    	enum_bs[7]='\0';
    	enum_bs[8]='\0';
    	break;

    case 1:
    	enum_bs[0]='R';
    	enum_bs[1]='A';
    	enum_bs[2]='M';
    	enum_bs[3]='P';
    	enum_bs[4]='A';
    	enum_bs[5]='\0';
    	enum_bs[6]='\0';
    	enum_bs[7]='\0';
    	enum_bs[8]='\0';
    	break;

    case 2:
    	enum_bs[0]='U';
    	enum_bs[1]='C';
    	enum_bs[2]='U';
    	enum_bs[3]='S';
    	enum_bs[4]='\0';
    	enum_bs[5]='\0';
    	enum_bs[6]='\0';
    	enum_bs[7]='\0';
    	enum_s[8]='\0';
    	break;
    case 3:
    	enum_bs[0]='B';
    	enum_bs[1]='U';
    	enum_bs[2]='R';
    	enum_bs[3]='N';
    	enum_bs[4]='O';
    	enum_bs[5]='U';
    	enum_bs[6]='T';
    	enum_bs[7]='\0';
    	enum_bs[8]='\0';
    	break;
    case 4:
    	enum_bs[0]='A';
    	enum_bs[1]='Y';
    	enum_bs[2]='I';
    	enum_bs[3]='R';
    	enum_bs[4]='\0';
    	enum_bs[5]='\0';
    	enum_bs[6]='\0';
    	enum_bs[7]='\0';
    	enum_bs[8]='\0';
    	break;
    case 5:
    	enum_bs[0]='A';
    	enum_bs[1]='Y';
    	enum_bs[2]='R';
    	enum_bs[3]='I';
    	enum_bs[4]='L';
    	enum_bs[5]='D';
    	enum_bs[6]='I';
    	enum_bs[7]='?';
    	enum_bs[8]='\0';
    	break;
    case 6:
    	enum_bs[0]='A';
    	enum_bs[1]='Y';
    	enum_bs[2]='R';
    	enum_bs[3]='I';
    	enum_bs[4]='L';
    	enum_bs[5]='D';
    	enum_bs[6]='I';
    	enum_bs[7]='\0';
    	enum_bs[8]='\0';
    	break;
    case 7:
    	enum_bs[0]='A';
    	enum_bs[1]='Y';
    	enum_bs[2]='R';
    	enum_bs[3]='I';
    	enum_bs[4]='L';
    	enum_bs[5]='M';
    	enum_bs[6]='A';
    	enum_bs[7]='D';
    	enum_bs[8]='I';
    	break;
    case 8:
    	enum_bs[0]='F';
    	enum_bs[1]='I';
    	enum_bs[2]='N';
    	enum_bs[3]='I';
    	enum_bs[4]='S';
    	enum_bs[5]='H';
    	enum_bs[6]='\0';
    	enum_bs[7]='\0';
    	enum_bs[8]='\0';
    	break;

    	 }

    NEXTION_SendString("bs10", &enum_bs);

}
void Enum_State_s(void){

    switch(Sustainer.mod){

    case 0:
    	enum_s[0]='O';
    	enum_s[1]='F';
    	enum_s[2]='F';
    	enum_s[3]='\0';
    	enum_s[4]='\0';
    	enum_s[5]='\0';
    	enum_s[6]='\0';
    	enum_s[7]='\0';
    	enum_s[8]='\0';
    	break;
    case 1:
    	enum_s[0]='R';
    	enum_s[1]='A';
    	enum_s[2]='M';
    	enum_s[3]='P';
    	enum_s[4]='A';
    	enum_s[5]='\0';
    	enum_s[6]='\0';
    	enum_s[7]='\0';
    	enum_s[8]='\0';
    	break;

    case 2:
    	enum_s[0]='U';
    	enum_s[1]='C';
    	enum_s[2]='U';
    	enum_s[3]='S';
    	enum_s[4]='\0';
    	enum_s[5]='\0';
    	enum_s[6]='\0';
    	enum_s[7]='\0';
    	enum_s[8]='\0';
    	break;
    case 3:
    	enum_s[0]='A';
    	enum_s[1]='Y';
    	enum_s[2]='R';
    	enum_s[3]='I';
    	enum_s[4]='L';
    	enum_s[5]='D';
    	enum_s[6]='I';
    	enum_s[7]='?';
    	enum_s[8]='\0';
    	break;
    case 4:
    	enum_s[0]='A';
    	enum_s[1]='Y';
    	enum_s[2]='R';
    	enum_s[3]='I';
    	enum_s[4]='L';
    	enum_s[5]='D';
    	enum_s[6]='I';
    	enum_s[7]='\0';
    	enum_s[8]='\0';
    	break;
    case 5:
    	enum_s[0]='A';
    	enum_s[1]='P';
    	enum_s[2]='O';
    	enum_s[3]='G';
    	enum_s[4]='E';
    	enum_s[5]='E';
    	enum_s[6]='\0';
    	enum_s[7]='\0';
    	enum_s[8]='\0';
    	break;
    case 6:
    	enum_s[0]='M';
    	enum_s[1]='A';
    	enum_s[2]='I';
    	enum_s[3]='N';
    	enum_s[4]='\0';
    	enum_s[5]='\0';
    	enum_s[6]='\0';
    	enum_s[7]='\0';
    	enum_s[8]='\0';
    	break;
    case 7:
    	enum_s[0]='F';
    	enum_s[1]='I';
    	enum_s[2]='N';
    	enum_s[3]='I';
    	enum_s[4]='S';
    	enum_s[5]='H';
    	enum_s[6]='\0';
    	enum_s[7]='\0';
    	enum_s[8]='\0';
    	break;

    	 }

    NEXTION_SendString("s10", &enum_s);

}
/* USER CODE END 4 */

void Error_Handler(void)
{
  __disable_irq();
  while (1)
  {
  }
}
